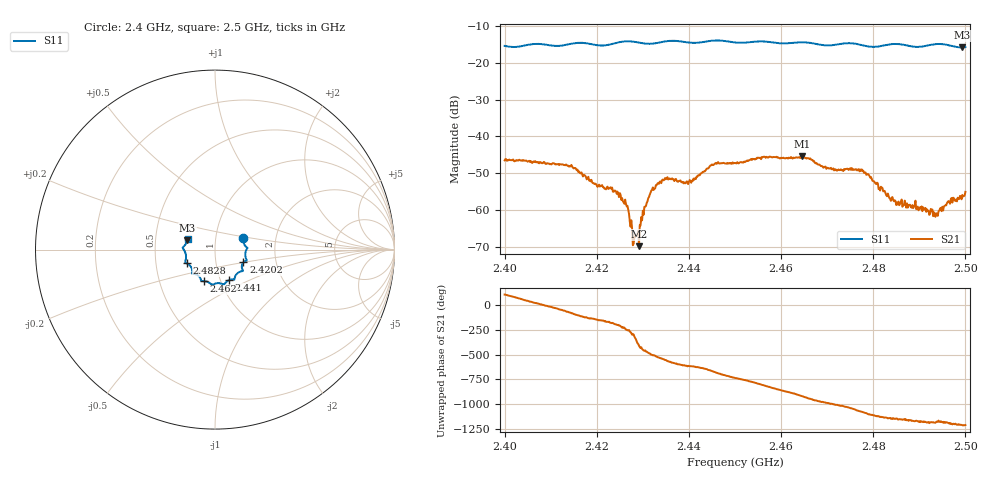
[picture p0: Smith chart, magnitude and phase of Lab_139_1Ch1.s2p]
# Hz S RI R 50
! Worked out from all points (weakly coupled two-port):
!   601 points, 2.4 GHz to 2.5 GHz, reference 50 ohm
!   highest |S21| = -45.46 dB at 2.4645 GHz (marker M1); lowest = -69.9 dB at 2.4292 GHz (marker M2)
!   lowest |S11| = -15.8 dB at 2.4993 GHz (marker M3), VSWR 1.39, Z = 36.5 + j3.85 ohm
!   |S11| at or under -10 dB: start of sweep to end of sweep
!   S12 and S22 are empty: the file has one direction only
!   S11 on the Smith chart (normalised r, x): 2.4 GHz: 1.36, +0.18; 2.4202 GHz: 1.36, -0.20; 2.441 GHz: 1.10, -0.39; 2.462 GHz: 0.84, -0.30; 2.4828 GHz: 0.72, -0.11; 2.5 GHz: 0.73, +0.09
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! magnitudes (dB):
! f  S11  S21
! 2.4 GHz  -15.4  -46.5
! 2.413 GHz  -15.2  -47.8
! 2.4167 GHz  -14.5  -49.8
! 2.4202 GHz  -15.2  -53.7
! 2.4247 GHz  -14.4  -55.7
! 2.4265 GHz  -14.1  -59.1
! 2.4282 GHz  -14.3  -67.4
! 2.4292 GHz  -14.5  -69.9
! 2.4317 GHz  -14.8  -55.3
! 2.4333 GHz  -14.5  -52.7
! 2.441 GHz  -14.6  -51.5
! 2.4453 GHz  -13.9  -47.8
! 2.45 GHz  -14.5  -47.3
! 2.462 GHz  -14.6  -45.9
! 2.4645 GHz  -14.4  -45.5
! 2.4667 GHz  -14.6  -46.4
! 2.4773 GHz  -15.1  -49.4
! 2.4828 GHz  -15.1  -56.0
! 2.4833 GHz  -15.0  -56.2
! 2.4935 GHz  -14.9  -61.9
! 2.4993 GHz  -15.8  -55.9
! 2.5 GHz  -15.7  -55.1
